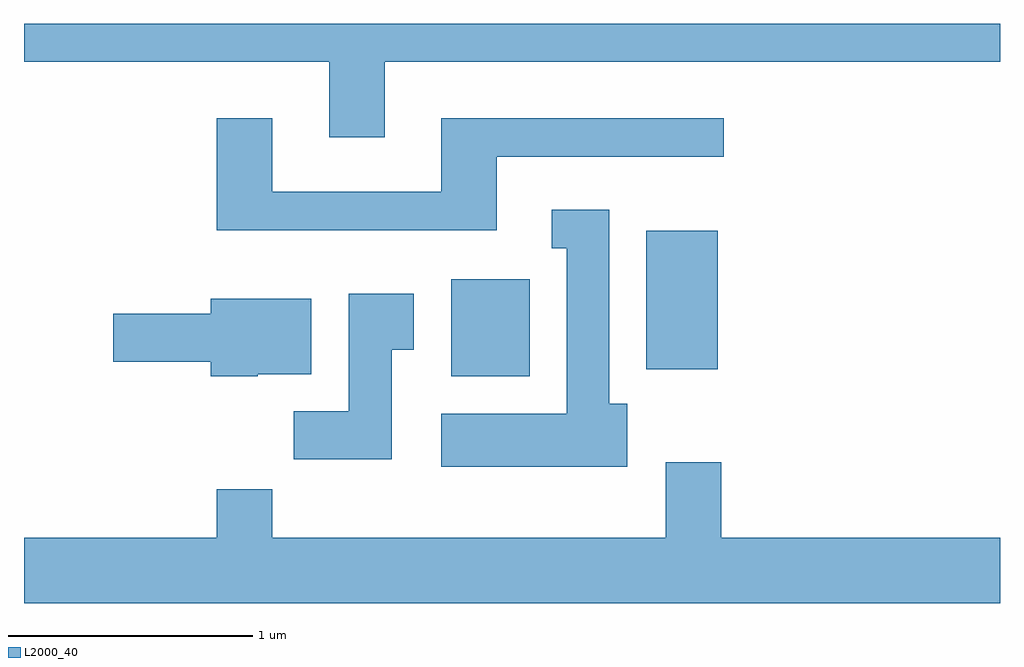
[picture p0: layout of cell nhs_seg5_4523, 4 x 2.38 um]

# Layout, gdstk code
import gdstk
lib = gdstk.Library(unit=1e-6, precision=1e-09)
def R(c, l, rs):  # rectangles x0, y0, x1, y1
    for r in rs: c.add(gdstk.rectangle(r[:2], r[2:], *l))
def P(c, l, *ps):  # polygons
    for p in ps: c.add(gdstk.Polygon(p, *l))
L2000_40 = (2000, 40)

nhs_seg5_4523 = lib.new_cell('nhs_seg5_4523')
R(nhs_seg5_4523, L2000_40, [(321.361,1446.626,321.684,1447.024), (322.161,1446.656,322.454,1447.224)])
P(nhs_seg5_4523, L2000_40, [(321.089,1447.916),(323.611,1447.916),(323.611,1448.072),(319.611,1448.072),(319.611,1447.916),(320.861,1447.916),(320.861,1447.606),(321.089,1447.606)],
  [(321.549,1447.526),(322.478,1447.526),(322.478,1447.684),(321.321,1447.684),(321.321,1447.384),(320.629,1447.384),(320.629,1447.684),(320.401,1447.684),(320.401,1447.226),(321.549,1447.226)],
  [(322.084,1446.514),(322.009,1446.514),(322.009,1447.309),(321.773,1447.309),(321.773,1447.151),(321.836,1447.151),(321.836,1446.474),(321.321,1446.474),(321.321,1446.256),(322.084,1446.256)],
  [(321.119,1446.736),(321.209,1446.736),(321.209,1446.964),(320.941,1446.964),(320.941,1446.484),(320.716,1446.484),(320.716,1446.286),(321.119,1446.286)],
  [(320.57,1446.636),(320.789,1446.636),(320.789,1446.944),(320.376,1446.944),(320.376,1446.884),(319.976,1446.884),(319.976,1446.686),(320.376,1446.686),(320.376,1446.626),(320.57,1446.626)],
  [(323.611,1445.964),(322.469,1445.964),(322.469,1446.274),(322.241,1446.274),(322.241,1445.964),(320.629,1445.964),(320.629,1446.164),(320.401,1446.164),(320.401,1445.964),(319.611,1445.964),(319.611,1445.696),(323.611,1445.696)])

lib.write_gds('nhs_seg5_4523.gds')
